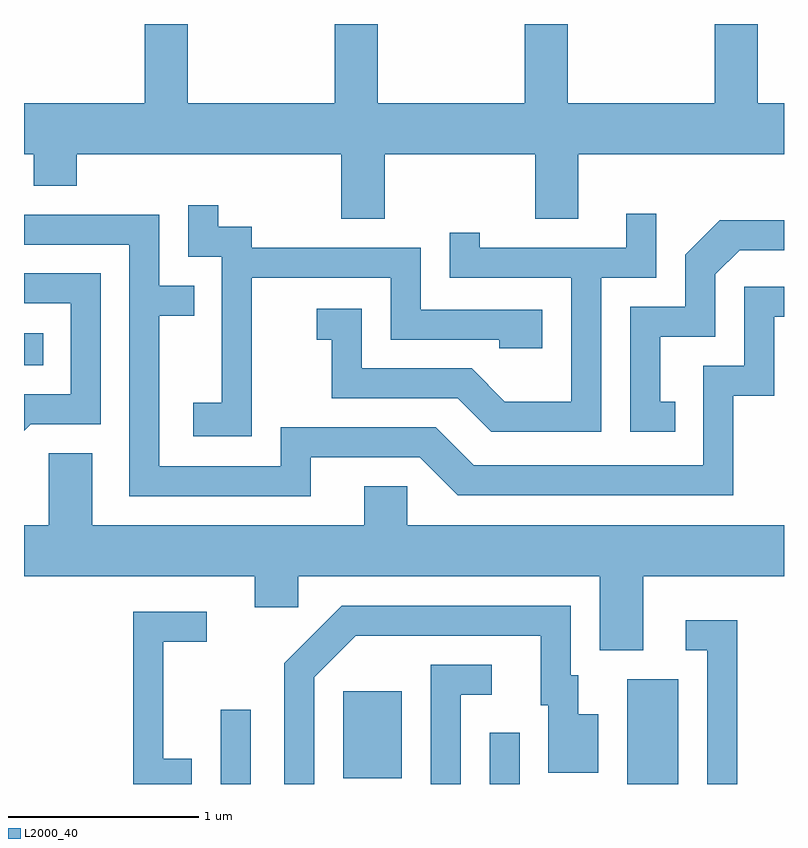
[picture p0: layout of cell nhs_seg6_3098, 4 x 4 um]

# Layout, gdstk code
import gdstk
lib = gdstk.Library(unit=1e-6, precision=1e-09)
def R(c, l, rs):  # rectangles x0, y0, x1, y1
    for r in rs: c.add(gdstk.rectangle(r[:2], r[2:], *l))
def P(c, l, *ps):  # polygons
    for p in ps: c.add(gdstk.Polygon(p, *l))
L2000_40 = (2000, 40)

nhs_seg6_3098 = lib.new_cell('nhs_seg6_3098')
R(nhs_seg6_3098, L2000_40, [(278.646,1662.162,278.804,1662.553), (280.061,1662.162,280.219,1662.433), (280.786,1662.162,281.054,1662.714), (279.291,1662.191,279.599,1662.649), (277.611,1664.366,277.713,1664.534)])
P(nhs_seg6_3098, L2000_40, [(277.611,1665.476),(277.661,1665.476),(277.661,1665.311),(277.889,1665.311),(277.889,1665.476),(279.281,1665.476),(279.281,1665.136),(279.509,1665.136),(279.509,1665.476),(280.301,1665.476),(280.301,1665.136),(280.529,1665.136),(280.529,1665.476),(281.611,1665.476),(281.611,1665.744),(281.474,1665.744),(281.474,1666.162),(281.246,1666.162),(281.246,1665.744),(280.474,1665.744),(280.474,1666.162),(280.246,1666.162),(280.246,1665.744),(279.474,1665.744),(279.474,1666.162),(279.246,1666.162),(279.246,1665.744),(278.474,1665.744),(278.474,1666.162),(278.246,1666.162),(278.246,1665.744),(277.611,1665.744)],
  [(278.809,1664.826),(279.541,1664.826),(279.541,1664.501),(280.111,1664.501),(280.111,1664.456),(280.339,1664.456),(280.339,1664.659),(279.699,1664.659),(279.699,1664.984),(278.809,1664.984),(278.809,1665.094),(278.634,1665.094),(278.634,1665.208),(278.476,1665.208),(278.476,1664.936),(278.651,1664.936),(278.651,1664.169),(278.501,1664.169),(278.501,1663.991),(278.809,1663.991)],
  [(280.649,1664.826),(280.939,1664.826),(280.939,1665.163),(280.781,1665.163),(280.781,1664.984),(280.009,1664.984),(280.009,1665.063),(279.851,1665.063),(279.851,1664.826),(280.491,1664.826),(280.491,1664.174),(280.142,1664.174),(279.967,1664.349),(279.389,1664.349),(279.389,1664.664),(279.153,1664.664),(279.153,1664.501),(279.231,1664.501),(279.231,1664.191),(279.894,1664.191),(280.069,1664.016),(280.649,1664.016)],
  [(279.119,1663.881),(279.694,1663.881),(279.894,1663.681),(281.344,1663.681),(281.344,1664.206),(281.559,1664.206),(281.559,1664.621),(281.611,1664.621),(281.611,1664.779),(281.401,1664.779),(281.401,1664.364),(281.186,1664.364),(281.186,1663.839),(279.977,1663.839),(279.777,1664.039),(278.961,1664.039),(278.961,1663.834),(278.324,1663.834),(278.324,1664.626),(278.508,1664.626),(278.508,1664.784),(278.324,1664.784),(278.324,1665.159),(277.611,1665.159),(277.611,1665.001),(278.166,1665.001),(278.166,1663.676),(279.119,1663.676)],
  [(281.038,1664.174),(280.959,1664.174),(280.959,1664.516),(281.249,1664.516),(281.249,1664.844),(281.377,1664.971),(281.611,1664.971),(281.611,1665.129),(281.274,1665.129),(281.091,1664.947),(281.091,1664.674),(280.801,1664.674),(280.801,1664.016),(281.038,1664.016)],
  [(277.647,1664.056),(278.014,1664.056),(278.014,1664.849),(277.611,1664.849),(277.611,1664.691),(277.856,1664.691),(277.856,1664.214),(277.611,1664.214),(277.611,1664.02)],
  [(280.869,1663.256),(281.611,1663.256),(281.611,1663.524),(279.629,1663.524),(279.629,1663.729),(279.401,1663.729),(279.401,1663.524),(277.969,1663.524),(277.969,1663.904),(277.741,1663.904),(277.741,1663.524),(277.611,1663.524),(277.611,1663.256),(278.826,1663.256),(278.826,1663.091),(279.054,1663.091),(279.054,1663.256),(280.641,1663.256),(280.641,1662.866),(280.869,1662.866)],
  [(279.139,1662.724),(279.357,1662.941),(280.331,1662.941),(280.331,1662.576),(280.371,1662.576),(280.371,1662.221),(280.634,1662.221),(280.634,1662.529),(280.529,1662.529),(280.529,1662.734),(280.489,1662.734),(280.489,1663.099),(279.284,1663.099),(278.981,1662.797),(278.981,1662.162),(279.139,1662.162)],
  [(278.494,1662.294),(278.344,1662.294),(278.344,1662.911),(278.573,1662.911),(278.573,1663.069),(278.186,1663.069),(278.186,1662.162),(278.494,1662.162)],
  [(281.364,1663.024),(281.093,1663.024),(281.093,1662.866),(281.206,1662.866),(281.206,1662.162),(281.364,1662.162)],
  [(279.909,1662.631),(280.073,1662.631),(280.073,1662.789),(279.751,1662.789),(279.751,1662.162),(279.909,1662.162)])

lib.write_gds('nhs_seg6_3098.gds')
